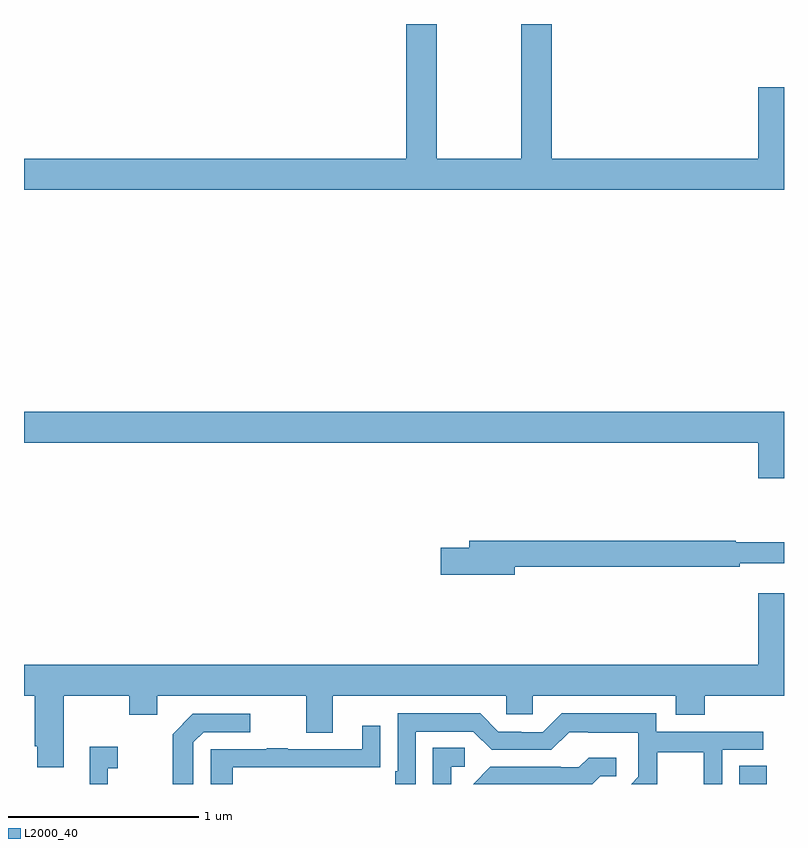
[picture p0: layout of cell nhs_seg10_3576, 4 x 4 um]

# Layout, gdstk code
import gdstk
lib = gdstk.Library(unit=1e-6, precision=1e-09)
def R(c, l, rs):  # rectangles x0, y0, x1, y1
    for r in rs: c.add(gdstk.rectangle(r[:2], r[2:], *l))
def P(c, l, *ps):  # polygons
    for p in ps: c.add(gdstk.Polygon(p, *l))
L2000_40 = (2000, 40)

nhs_seg10_3576 = lib.new_cell('nhs_seg10_3576')
R(nhs_seg10_3576, L2000_40, [(308.765,1318.5,308.909,1318.595)])
P(nhs_seg10_3576, L2000_40, [(309,1322.167),(308.864,1322.167),(308.864,1321.792),(307.778,1321.792),(307.778,1322.5),(307.618,1322.5),(307.618,1321.792),(307.173,1321.792),(307.173,1322.5),(307.013,1322.5),(307.013,1321.792),(305,1321.792),(305,1321.628),(309,1321.628)],
  [(309,1320.46),(305,1320.46),(305,1320.296),(308.864,1320.296),(308.864,1320.108),(309,1320.108)],
  [(307.582,1319.644),(308.768,1319.644),(308.768,1319.663),(309,1319.663),(309,1319.773),(308.747,1319.773),(308.747,1319.78),(307.343,1319.78),(307.343,1319.744),(307.194,1319.744),(307.194,1319.602),(307.582,1319.602)],
  [(305,1318.964),(305.057,1318.964),(305.057,1318.699),(305.069,1318.699),(305.069,1318.587),(305.209,1318.587),(305.209,1318.964),(305.554,1318.964),(305.554,1318.865),(305.701,1318.865),(305.701,1318.964),(306.485,1318.964),(306.485,1318.77),(306.625,1318.77),(306.625,1318.964),(307.539,1318.964),(307.539,1318.866),(307.677,1318.866),(307.677,1318.964),(308.429,1318.964),(308.429,1318.865),(308.582,1318.865),(308.582,1318.964),(309,1318.964),(309,1319.503),(308.864,1319.503),(308.864,1319.128),(305,1319.128)],
  [(307.062,1318.776),(307.365,1318.776),(307.461,1318.68),(307.776,1318.68),(307.869,1318.773),(307.969,1318.773),(307.969,1318.769),(308.232,1318.769),(308.232,1318.635),(308.234,1318.635),(308.234,1318.538),(308.196,1318.5),(308.333,1318.5),(308.333,1318.668),(308.578,1318.668),(308.578,1318.5),(308.676,1318.5),(308.676,1318.68),(308.89,1318.68),(308.89,1318.776),(308.328,1318.776),(308.328,1318.873),(307.831,1318.873),(307.731,1318.773),(307.616,1318.773),(307.616,1318.776),(307.497,1318.776),(307.401,1318.872),(306.966,1318.872),(306.966,1318.567),(306.953,1318.567),(306.953,1318.5),(307.062,1318.5)],
  [(305.892,1318.719),(305.946,1318.773),(306.19,1318.773),(306.19,1318.869),(305.889,1318.869),(305.784,1318.763),(305.784,1318.5),(305.892,1318.5)],
  [(306.098,1318.587),(306.773,1318.587),(306.773,1318.588),(306.875,1318.588),(306.875,1318.807),(306.779,1318.807),(306.779,1318.683),(306.389,1318.683),(306.389,1318.688),(306.277,1318.688),(306.277,1318.683),(305.982,1318.683),(305.982,1318.5),(306.098,1318.5)],
  [(305.442,1318.583),(305.494,1318.583),(305.494,1318.696),(305.345,1318.696),(305.345,1318.5),(305.442,1318.5)],
  [(307.248,1318.59),(307.321,1318.59),(307.321,1318.691),(307.152,1318.691),(307.152,1318.5),(307.248,1318.5)],
  [(308.034,1318.542),(308.116,1318.542),(308.116,1318.639),(307.972,1318.639),(307.92,1318.587),(307.826,1318.587),(307.826,1318.59),(307.454,1318.59),(307.364,1318.5),(307.992,1318.5)])

lib.write_gds('nhs_seg10_3576.gds')
